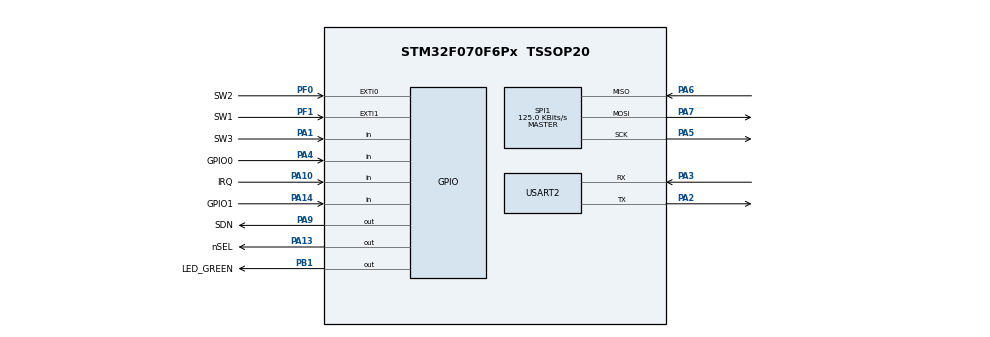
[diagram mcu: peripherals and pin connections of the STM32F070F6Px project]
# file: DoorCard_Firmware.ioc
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Mcu.Family=STM32F0
Mcu.Name=STM32F070F6Px
Mcu.Package=TSSOP20
NVIC.EXTI0_1_IRQn=true\:0\:0\:false\:false\:true\:true\:true
PA0.Mode=SYS_WakeUp0
PA0.Signal=SYS_WKUP1
PA1.GPIO_Label=SW3
PA1.GPIO_PuPd=GPIO_PULLDOWN
PA1.Signal=GPIO_Input
PA10.GPIO_Label=IRQ
PA10.Signal=GPIO_Input
PA13.GPIO_Label=nSEL
PA13.Signal=GPIO_Output
PA14.GPIO_Label=GPIO1
PA14.Signal=GPIO_Input
PA2.Mode=Asynchronous
PA2.Signal=USART2_TX
PA3.Mode=Asynchronous
PA3.Signal=USART2_RX
PA4.GPIO_Label=GPIO0
PA4.Signal=GPIO_Input
PA5.Mode=Full_Duplex_Master
PA5.Signal=SPI1_SCK
PA6.Mode=Full_Duplex_Master
PA6.Signal=SPI1_MISO
PA7.Mode=Full_Duplex_Master
PA7.Signal=SPI1_MOSI
PA9.GPIO_Label=SDN
PA9.Signal=GPIO_Output
PB1.GPIO_Label=LED_GREEN
PB1.Signal=GPIO_Output
PF0-OSC_IN.GPIO_Label=SW2
PF0-OSC_IN.GPIO_PuPd=GPIO_PULLDOWN
PF0-OSC_IN.Signal=GPXTI0
PF1-OSC_OUT.GPIO_Label=SW1
PF1-OSC_OUT.GPIO_PuPd=GPIO_PULLDOWN
PF1-OSC_OUT.Signal=GPXTI1
ProjectManager.HeapSize=0x200
ProjectManager.StackSize=0x400
ProjectManager.TargetToolchain=STM32CubeIDE
SPI1.BaudRatePrescaler=SPI_BAUDRATEPRESCALER_64
SPI1.CalculateBaudRate=125.0 KBits/s
SPI1.DataSize=SPI_DATASIZE_8BIT
SPI1.Direction=SPI_DIRECTION_2LINES
SPI1.Mode=SPI_MODE_MASTER
SPI1.VirtualType=VM_MASTER
USART2.VirtualMode-Asynchronous=VM_ASYNC
board=custom

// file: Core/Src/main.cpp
/* USER CODE BEGIN Header */
/**
  ******************************************************************************
  * @file           : main.c
  * @brief          : Main program body
  ******************************************************************************
  * @attention
  *
  * <h2><center>&copy; Copyright (c) 2019 STMicroelectronics.
  * All rights reserved.</center></h2>
  *
  * This software component is licensed by ST under BSD 3-Clause license,
  * the "License"; You may not use this file except in compliance with the
  * License. You may obtain a copy of the License at:
  *                        opensource.org/licenses/BSD-3-Clause
  *
  ******************************************************************************
  */
/* USER CODE END Header */

#include "main.h"

/* USER CODE BEGIN Includes */

#include "si446x.h"

  bool arrayCompare(uint8_t* arr1, uint8_t* arr2)
  {
	  for(int i = 0; i < 7; i++)
	  {
		  if(arr1[i] != arr2[i])
		  {
			  return false;
		  }
	  }
	  return true;
  }

/* USER CODE END Includes */

SPI_HandleTypeDef hspi1;

UART_HandleTypeDef huart2;

void SystemClock_Config(void);
static void MX_GPIO_Init(void);
static void MX_SPI1_Init(void);
static void MX_USART2_UART_Init(void);

int main(void)
{

  /* MCU Configuration--------------------------------------------------------*/

  /* Reset of all peripherals, Initializes the Flash interface and the Systick. */
  HAL_Init();

  /* Configure the system clock */
  SystemClock_Config();

  /* Initialize all configured peripherals */
  MX_GPIO_Init();
  MX_SPI1_Init();
  MX_USART2_UART_Init();
  /* USER CODE BEGIN 2 */

  si446x rf(GPIOA, &hspi1, nSEL_Pin, SDN_Pin, IRQ_Pin); //446x object
  rf.powerUp(); //Power up

  /* USER CODE END 2 */

  /* Infinite loop */
  while (1)
  {

    /* USER CODE BEGIN 3 */
	  /*
	  for(int i = 0; i<3; i++) //Blink thre times as heartbeat
	 	  {
	 		  HAL_GPIO_WritePin(GPIOB, LED_GREEN_Pin, GPIO_PIN_SET);
	 	  	  HAL_Delay(300);
	 	  	  HAL_GPIO_WritePin(GPIOB, LED_GREEN_Pin, GPIO_PIN_RESET);
	 	  	  HAL_Delay(300);
	 	  }

	  uint8_t data[] = "123456789";
	  rf.sendPacket(data, sizeof(data), 1);
	  //HAL_Delay(5000);
	   */

	  if(HAL_GPIO_ReadPin(GPIOA, SW3_Pin) == GPIO_PIN_SET) // Test if SW3 is high
	  {
		 for(int i = 0; i<2; i++) //Blink thre times as heartbeat
			 	  {
			 		  HAL_GPIO_WritePin(GPIOB, LED_GREEN_Pin, GPIO_PIN_SET);
			 	  	  HAL_Delay(100);
			 	  	  HAL_GPIO_WritePin(GPIOB, LED_GREEN_Pin, GPIO_PIN_RESET);
			 	  	  HAL_Delay(100);
			 	  }
		 for(int j = 0; j < 5; j++)
		 {
		  	  uint8_t data[] = "1234567";
		  	  rf.sendPacket(data, sizeof(data), 1);
			  rf.startRX(1);
			  for(int i = 0; i<5; i++)
			  {
				  HAL_Delay(75);
				  uint8_t fifoBytes = rf.getRxFifoInfo();
				  uint8_t buf[8] = {0x00};
				  if(fifoBytes > 0)
					  {
					  uint8_t packetReceived[] = "/n Packet Received \n";
					  HAL_UART_Transmit(&huart2, packetReceived, sizeof(packetReceived), 1000);
					  rf.getPacket(buf, fifoBytes);
					  HAL_UART_Transmit(&huart2, buf, sizeof(buf), 1000);
					  uint8_t answer[] = "7654321";
					  if(arrayCompare(buf, answer) == true)
					  {
						 for(int i = 0; i<10; i++) //Blink thre times as heartbeat
							  {
								  HAL_GPIO_WritePin(GPIOB, LED_GREEN_Pin, GPIO_PIN_SET);
								  HAL_Delay(100);
								  HAL_GPIO_WritePin(GPIOB, LED_GREEN_Pin, GPIO_PIN_RESET);
								  HAL_Delay(100);
							  }
					  }
					  break;
					 }
			  }
		 }

	  }
  }
  /* USER CODE END 3 */
}

void SystemClock_Config(void)
{
  RCC_OscInitTypeDef RCC_OscInitStruct = {0};
  RCC_ClkInitTypeDef RCC_ClkInitStruct = {0};

  /** Initializes the CPU, AHB and APB busses clocks
  */
  RCC_OscInitStruct.OscillatorType = RCC_OSCILLATORTYPE_HSI;
  RCC_OscInitStruct.HSIState = RCC_HSI_ON;
  RCC_OscInitStruct.HSICalibrationValue = RCC_HSICALIBRATION_DEFAULT;
  RCC_OscInitStruct.PLL.PLLState = RCC_PLL_NONE;
  if (HAL_RCC_OscConfig(&RCC_OscInitStruct) != HAL_OK)
  {
    Error_Handler();
  }
  /** Initializes the CPU, AHB and APB busses clocks
  */
  RCC_ClkInitStruct.ClockType = RCC_CLOCKTYPE_HCLK|RCC_CLOCKTYPE_SYSCLK
                              |RCC_CLOCKTYPE_PCLK1;
  RCC_ClkInitStruct.SYSCLKSource = RCC_SYSCLKSOURCE_HSI;
  RCC_ClkInitStruct.AHBCLKDivider = RCC_SYSCLK_DIV1;
  RCC_ClkInitStruct.APB1CLKDivider = RCC_HCLK_DIV1;

  if (HAL_RCC_ClockConfig(&RCC_ClkInitStruct, FLASH_LATENCY_0) != HAL_OK)
  {
    Error_Handler();
  }
}

static void MX_SPI1_Init(void)
{

  /* SPI1 parameter configuration*/
  hspi1.Instance = SPI1;
  hspi1.Init.Mode = SPI_MODE_MASTER;
  hspi1.Init.Direction = SPI_DIRECTION_2LINES;
  hspi1.Init.DataSize = SPI_DATASIZE_8BIT;
  hspi1.Init.CLKPolarity = SPI_POLARITY_LOW;
  hspi1.Init.CLKPhase = SPI_PHASE_1EDGE;
  hspi1.Init.NSS = SPI_NSS_SOFT;
  hspi1.Init.BaudRatePrescaler = SPI_BAUDRATEPRESCALER_64;
  hspi1.Init.FirstBit = SPI_FIRSTBIT_MSB;
  hspi1.Init.TIMode = SPI_TIMODE_DISABLE;
  hspi1.Init.CRCCalculation = SPI_CRCCALCULATION_DISABLE;
  hspi1.Init.CRCPolynomial = 7;
  hspi1.Init.CRCLength = SPI_CRC_LENGTH_DATASIZE;
  hspi1.Init.NSSPMode = SPI_NSS_PULSE_ENABLE;
  if (HAL_SPI_Init(&hspi1) != HAL_OK)
  {
    Error_Handler();
  }

}

static void MX_USART2_UART_Init(void)
{

  huart2.Instance = USART2;
  huart2.Init.BaudRate = 38400;
  huart2.Init.WordLength = UART_WORDLENGTH_8B;
  huart2.Init.StopBits = UART_STOPBITS_1;
  huart2.Init.Parity = UART_PARITY_NONE;
  huart2.Init.Mode = UART_MODE_TX_RX;
  huart2.Init.HwFlowCtl = UART_HWCONTROL_NONE;
  huart2.Init.OverSampling = UART_OVERSAMPLING_16;
  huart2.Init.OneBitSampling = UART_ONE_BIT_SAMPLE_DISABLE;
  huart2.AdvancedInit.AdvFeatureInit = UART_ADVFEATURE_NO_INIT;
  if (HAL_UART_Init(&huart2) != HAL_OK)
  {
    Error_Handler();
  }

}

static void MX_GPIO_Init(void)
{
  GPIO_InitTypeDef GPIO_InitStruct = {0};

  /* GPIO Ports Clock Enable */
  __HAL_RCC_GPIOF_CLK_ENABLE();
  __HAL_RCC_GPIOA_CLK_ENABLE();
  __HAL_RCC_GPIOB_CLK_ENABLE();

  /*Configure GPIO pin Output Level */
  HAL_GPIO_WritePin(LED_GREEN_GPIO_Port, LED_GREEN_Pin, GPIO_PIN_RESET);

  /*Configure GPIO pin Output Level */
  HAL_GPIO_WritePin(GPIOA, SDN_Pin|nSEL_Pin, GPIO_PIN_RESET);

  /*Configure GPIO pins : SW2_Pin SW1_Pin */
  GPIO_InitStruct.Pin = SW2_Pin|SW1_Pin;
  GPIO_InitStruct.Mode = GPIO_MODE_IT_RISING;
  GPIO_InitStruct.Pull = GPIO_PULLDOWN;
  HAL_GPIO_Init(GPIOF, &GPIO_InitStruct);

  /*Configure GPIO pin : SW3_Pin */
  GPIO_InitStruct.Pin = SW3_Pin;
  GPIO_InitStruct.Mode = GPIO_MODE_INPUT;
  GPIO_InitStruct.Pull = GPIO_PULLDOWN;
  HAL_GPIO_Init(SW3_GPIO_Port, &GPIO_InitStruct);

  /*Configure GPIO pins : GPIO0_Pin IRQ_Pin GPIO1_Pin */
  GPIO_InitStruct.Pin = GPIO0_Pin|IRQ_Pin|GPIO1_Pin;
  GPIO_InitStruct.Mode = GPIO_MODE_INPUT;
  GPIO_InitStruct.Pull = GPIO_NOPULL;
  HAL_GPIO_Init(GPIOA, &GPIO_InitStruct);

  /*Configure GPIO pin : LED_GREEN_Pin */
  GPIO_InitStruct.Pin = LED_GREEN_Pin;
  GPIO_InitStruct.Mode = GPIO_MODE_OUTPUT_PP;
  GPIO_InitStruct.Pull = GPIO_NOPULL;
  GPIO_InitStruct.Speed = GPIO_SPEED_FREQ_LOW;
  HAL_GPIO_Init(LED_GREEN_GPIO_Port, &GPIO_InitStruct);

  /*Configure GPIO pins : SDN_Pin nSEL_Pin */
  GPIO_InitStruct.Pin = SDN_Pin|nSEL_Pin;
  GPIO_InitStruct.Mode = GPIO_MODE_OUTPUT_PP;
  GPIO_InitStruct.Pull = GPIO_NOPULL;
  GPIO_InitStruct.Speed = GPIO_SPEED_FREQ_LOW;
  HAL_GPIO_Init(GPIOA, &GPIO_InitStruct);

  /* EXTI interrupt init*/
  HAL_NVIC_SetPriority(EXTI0_1_IRQn, 0, 0);
  HAL_NVIC_EnableIRQ(EXTI0_1_IRQn);

}

void Error_Handler(void)
{
}

/************************ (C) COPYRIGHT STMicroelectronics *****END OF FILE****/
